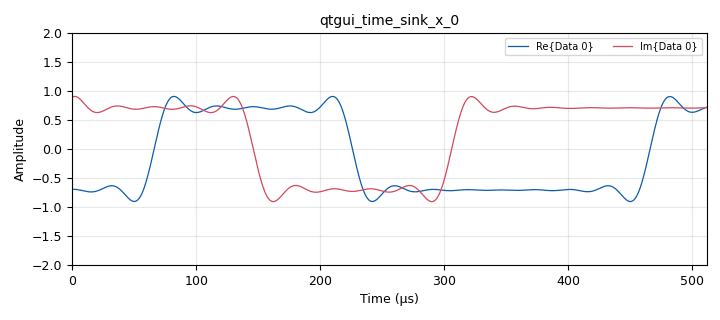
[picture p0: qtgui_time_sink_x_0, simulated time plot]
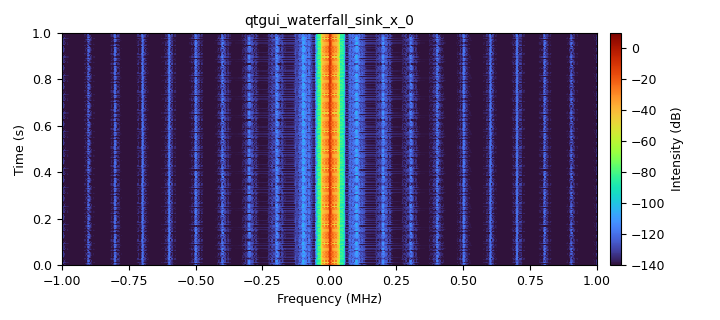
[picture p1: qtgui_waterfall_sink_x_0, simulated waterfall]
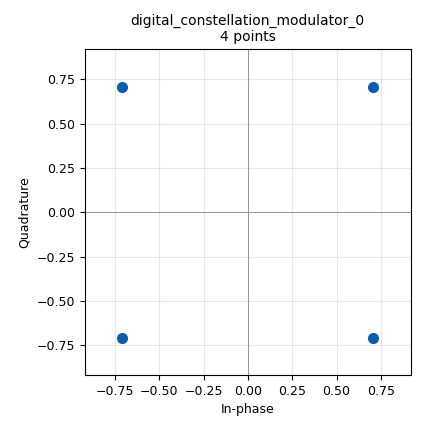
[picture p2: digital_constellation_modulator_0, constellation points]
options:
  parameters:
    generate_options: qt_gui
    id: Improved_digital_jammer
    output_language: python
    title: Improved_digital_jammer
  states: {}

blocks:
- name: center_freq_slider
  id: variable_qtgui_range
  parameters:
    orient: Qt.Horizontal
    start: '0'
    step: '1'
    stop: '100'
    value: '95.1'
  states: {}
- name: myconstell
  id: variable_constellation
  parameters:
    const_points: '[-1-1j, -1+1j, 1+1j, 1-1j]'
    dims: '1'
    precision: '8'
    rot_sym: '4'
    sym_map: '[0, 1, 3, 2]'
    type: calcdist
  states: {}
- name: samp_rate
  id: variable
  parameters:
    value: 2e6
  states: {}
- name: symbol_rate
  id: variable
  parameters:
    value: 100e3
  states: {}
- name: analog_random_source_x_0
  id: analog_random_source_x
  parameters:
    max: '2'
    min: '0'
    num_samps: '1000'
    repeat: 'True'
    type: byte
  states: {}
- name: digital_constellation_modulator_0
  id: digital_constellation_modulator
  parameters:
    constellation: myconstell
    differential: 'True'
    excess_bw: '0.35'
    samples_per_symbol: '2'
  states: {}
- name: osmosdr_sink_0
  id: osmosdr_sink
  parameters:
    bb_gain0: '20'
    freq0: center_freq_slider
    gain0: '0'
    if_gain0: '47'
    sample_rate: samp_rate
    sync: sync
    type: fc32
  states: {}
- name: qtgui_time_sink_x_0
  id: qtgui_time_sink_x
  parameters:
    size: '1024'
    srate: samp_rate
    type: complex
    ymax: '2'
    ymin: '-2'
  states: {}
- name: qtgui_waterfall_sink_x_0
  id: qtgui_waterfall_sink_x
  parameters:
    bw: samp_rate
    fc: '0'
    fftsize: '1024'
    type: complex
    wintype: firdes.WIN_BLACKMAN_hARRIS
  states: {}
- name: rational_resampler_xxx_0
  id: rational_resampler_xxx
  parameters:
    decim: int(symbol_rate)
    interp: int(samp_rate)
    taps: ''
    type: ccc
  states: {}

connections:
- [analog_random_source_x_0, '0', digital_constellation_modulator_0, '0']
- [digital_constellation_modulator_0, '0', rational_resampler_xxx_0, '0']
- [rational_resampler_xxx_0, '0', osmosdr_sink_0, '0']
- [rational_resampler_xxx_0, '0', qtgui_time_sink_x_0, '0']
- [rational_resampler_xxx_0, '0', qtgui_waterfall_sink_x_0, '0']

metadata:
  file_format: 1
